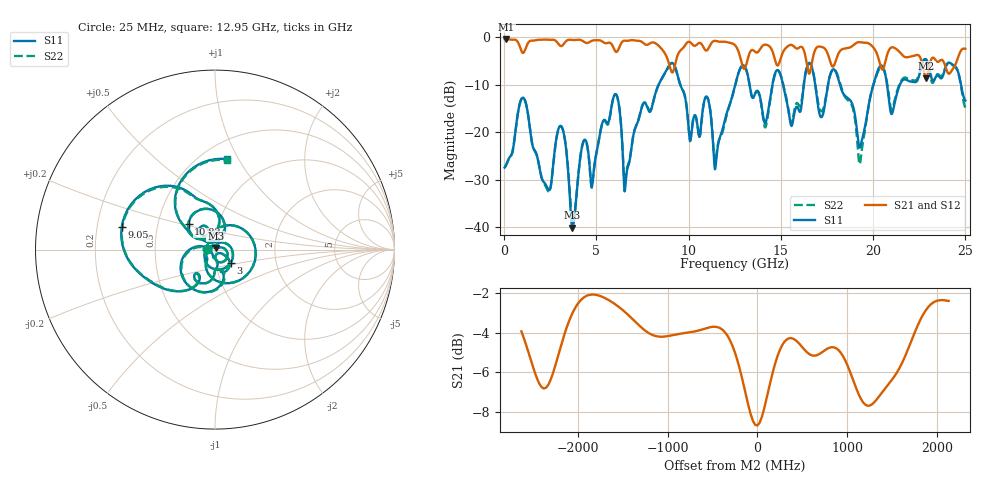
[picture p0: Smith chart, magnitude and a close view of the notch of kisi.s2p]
! R_s4_rect_cap5: Finite board 24 × 16 mm, via L1 → L4, a capacitor between the planes 5 mm away, no return via
! stackup: 4-layer 1.6 mm FR-4
! ports: 1 L1, 2 L4
! kisi-fdtd, conformal, dfine 0.07 mm, 660192 cells
# Hz S RI R 50
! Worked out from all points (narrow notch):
!   1000 points, 25 MHz to 25 GHz, reference 50 ohm
!   highest |S21| = -0.37 dB at 125 MHz (marker M1); lowest = -8.7 dB at 22.88 GHz (marker M2)
!   notch at M2: 6.7 dB deep, 440 MHz wide at half that depth
!   lowest |S11| = -40.1 dB at 3.7 GHz (marker M3), VSWR 1.02, Z = 50.4 + j0.909 ohm
!   |S11| at or under -10 dB: start of sweep to 8.372 GHz; 9.545 GHz to 12.52 GHz (2.977 GHz wide, 27 % of centre); 18.2 GHz to 20.01 GHz (1.814 GHz wide, 9.5 % of centre)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
!   |S22| runs from -39.1 to -4.6 dB; largest |S21 - S12| = 2.1e-06
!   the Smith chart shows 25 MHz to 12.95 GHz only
!   S11 on the Smith chart (normalised r, x): 25 MHz: 0.92, +0.01; 3 GHz: 1.18, -0.18; 9.05 GHz: 0.31, +0.11; 10.82 GHz: 0.72, +0.21; 12.95 GHz: 0.66, +0.90
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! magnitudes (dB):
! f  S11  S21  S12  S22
! 25 MHz  -27.5  -0.4  -0.4  -27.3
! 125 MHz  -26.8  -0.4  -0.4  -26.7
! 1.05 GHz  -12.8  -3.2  -3.2  -12.8
! 2.4 GHz  -32.1  -0.5  -0.5  -32.5
! 3 GHz  -18.8  -1.7  -1.7  -18.9
! 3.7 GHz  -40.1  -0.6  -0.6  -39.0
! 4.2 GHz  -23.5  -0.6  -0.6  -23.5
! 6.05 GHz  -12.0  -3.0  -3.0  -12.0
! 6.6 GHz  -29.9  -0.7  -0.7  -29.3
! 8.35 GHz  -10.2  -1.7  -1.7  -10.2
! 9.05 GHz  -5.4  -7.1  -7.1  -5.5
! 10.82 GHz  -13.8  -2.2  -2.2  -13.8
! 11.47 GHz  -26.8  -0.8  -0.8  -25.7
! 12.53 GHz  -10.0  -1.7  -1.7  -10.0
! 12.95 GHz  -5.9  -6.4  -6.4  -6.0
! 14.15 GHz  -18.1  -1.5  -1.5  -19.0
! 16.68 GHz  -6.3  -5.5  -5.5  -6.2
! 19.27 GHz  -23.3  -1.0  -1.0  -26.8
! 20.27 GHz  -6.7  -4.2  -4.2  -7.1
! 20.85 GHz  -12.9  -2.7  -2.7  -12.2
! 22.88 GHz  -4.7  -8.7  -8.7  -4.8
! 25 GHz  -13.3  -2.4  -2.4  -14.8
